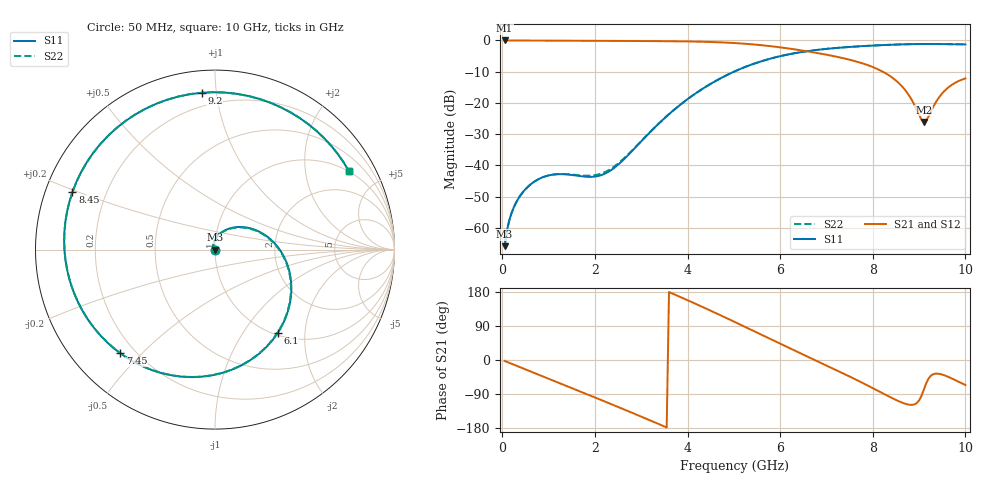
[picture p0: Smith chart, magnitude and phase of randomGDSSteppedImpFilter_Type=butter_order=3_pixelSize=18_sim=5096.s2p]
! freq	dB(S11)	phase(S11)	dB(S12)	phase(S12)
!  dB(S21)	phase(S21)	dB(S22)	phase(S22)
!S-par simulation data
#  GHz  S  DB  R 50
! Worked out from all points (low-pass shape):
!   200 points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, 50 MHz to 10 GHz, reference 50 ohm
!   highest |S21| = -0.01 dB at 50 MHz (marker M1); lowest = -26.1 dB at 9.1 GHz (marker M2)
!   |S21| within 3 dB of the highest: start of sweep to 6.384 GHz
!   lowest |S11| = -65.8 dB at 50 MHz (marker M3), VSWR 1.00, Z = 50 - j0.037 ohm
!   |S11| at or under -10 dB: start of sweep to 5.003 GHz
!   |S22| runs from -65.9 to -1.1 dB; largest |S21 - S12| = 0
!   S11 on the Smith chart (normalised r, x): 50 MHz: 1.00, -0.00; 6.1 GHz: 1.03, -1.45; 7.45 GHz: 0.15, -0.43; 8.45 GHz: 0.08, +0.19; 9.2 GHz: 0.12, +0.91; 10 GHz: 0.99, +3.43
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0.05  -65.84 -46.4  -0.01 -2.5  -0.01 -2.5  -65.85 -46.4
0.15  -57.63 -79.7  -0.02 -7.4  -0.02 -7.4  -57.65 -79.9
0.25  -53.36 -91.1  -0.02 -12.4  -0.02 -12.4  -53.38 -91.5
0.6  -46.21 -115.0  -0.04 -29.6  -0.04 -29.6  -46.23 -116.2
1.1  -42.93 -147.7  -0.06 -54.2  -0.06 -54.2  -42.92 -150.3
1.75  -43.56 169.0  -0.10 -86.3  -0.10 -86.3  -43.27 162.6
2.35  -41.51 136.5  -0.13 -116.3  -0.13 -116.3  -41.04 128.0
3.4  -26.31 94.6  -0.22 -170.2  -0.22 -170.2  -26.27 91.6
4.15  -17.21 57.1  -0.36 149.6  -0.36 149.6  -17.20 55.7
5.05  -9.69 7.5  -0.87 98.6  -0.87 98.6  -9.69 6.7
5.5  -7.11 -18.4  -1.38 72.3  -1.38 72.3  -7.11 -19.1
6.1  -4.71 -53.2  -2.40 37.3  -2.40 37.3  -4.71 -53.7
6.7  -3.20 -87.8  -3.76 2.8  -3.76 2.8  -3.20 -88.2
7.45  -2.13 -132.4  -5.99 -40.6  -5.99 -40.6  -2.13 -132.8
7.95  -1.68 -165.1  -8.22 -71.1  -8.22 -71.1  -1.68 -165.4
8.35  -1.40 165.8  -11.18 -96.3  -11.18 -96.3  -1.40 165.4
8.45  -1.34 158.0  -12.23 -102.4  -12.23 -102.4  -1.34 157.7
8.75  -1.21 133.5  -16.88 -117.2  -16.88 -117.2  -1.21 133.2
9.1  -1.14 103.5  -26.08 -79.3  -26.08 -79.3  -1.14 103.3
9.2  -1.14 94.9  -24.47 -49.7  -24.47 -49.7  -1.14 94.7
9.55  -1.17 65.3  -16.14 -40.6  -16.14 -40.6  -1.17 65.1
10  -1.26 30.2  -12.16 -66.0  -12.16 -66.0  -1.26 30.2
